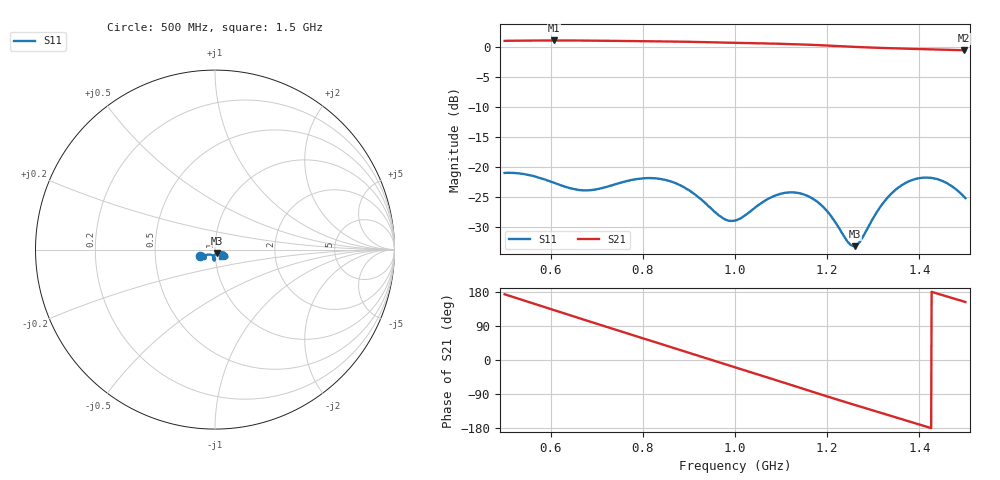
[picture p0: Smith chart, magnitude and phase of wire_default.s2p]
# HZ S RI R 50
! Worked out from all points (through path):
!   1024 points, 500 MHz to 1.5 GHz, reference 50 ohm
!   highest |S21| = 1.02 dB at 607.5 MHz (marker M1); lowest = -0.6 dB at 1.497 GHz (marker M2)
!   group delay of S21, straight-line fit = 1.06 ns
!   lowest |S11| = -33.3 dB at 1.261 GHz (marker M3), VSWR 1.04, Z = 51.1 - j1.89 ohm
!   |S11| at or under -10 dB: start of sweep to end of sweep
!   S12 and S22 are empty: the file has one direction only
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5e8  -0.0811 -0.0352  -1.109 0.1276  0 0  0 0
5.518084e8  -0.0808 -0.0269  -1.002 0.5052  0 0  0 0
6.075269e8  -0.0695 -0.0229  -0.746 0.8423  0 0  0 0
6.671554e8  -0.0556 -0.0307  -0.354 1.066  0 0  0 0
7.062561e8  -0.0514 -0.0407  -0.0643 1.118  0 0  0 0
7.473118e8  -0.0527 -0.0497  0.2415 1.089  0 0  0 0
8.333333e8  -0.0624 -0.049  0.7869 0.7765  0 0  0 0
8.76344e8  -0.0595 -0.0392  0.9709 0.5181  0 0  0 0
9.183773e8  -0.0477 -0.0302  1.07 0.2264  0 0  0 0
9.731182e8  -0.0244 -0.0281  1.068 -0.1685  0 0  0 0
1.000489e9  -0.0131 -0.0329  1.014 -0.3572  0 0  0 0
1.089443e9  -0.000472 -0.0577  0.6311 -0.8484  0 0  0 0
1.166667e9  -0.0108 -0.0535  0.1216 -1.027  0 0  0 0
1.211632e9  -0.00757 -0.0364  -0.1844 -0.999  0 0  0 0
1.245845e9  0.00431 -0.0229  -0.3955 -0.9189  0 0  0 0
1.260508e9  0.0114 -0.0184  -0.4792 -0.8712  0 0  0 0
1.333822e9  0.0536 -0.018  -0.8026 -0.5462  0 0  0 0
1.372923e9  0.0669 -0.0313  -0.905 -0.3234  0 0  0 0
1.413978e9  0.0669 -0.0457  -0.9477 -0.0758  0 0  0 0
1.456012e9  0.0547 -0.0501  -0.9233 0.1775  0 0  0 0
1.497067e9  0.0411 -0.0379  -0.8382 0.4074  0 0  0 0
1.5e9  0.0405 -0.0366  -0.8309 0.4222  0 0  0 0
